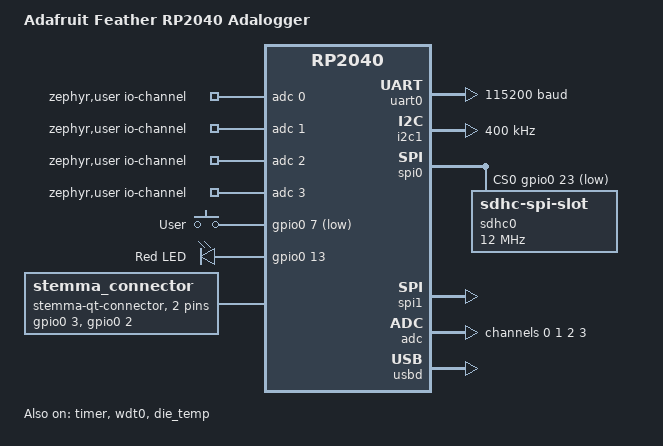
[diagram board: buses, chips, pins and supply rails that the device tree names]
/*
 * Copyright (c) 2021 Yonatan Schachter
 * Copyright (c) 2022 Peter Johanson
 * Copyright (c) 2025 Jonas Berg
 *
 * SPDX-License-Identifier: Apache-2.0
 */

/dts-v1/;

#include <raspberrypi/rpi_pico/rp2040.dtsi>
#include <dt-bindings/pinctrl/rpi-pico-rp2040-pinctrl.h>
#include <zephyr/dt-bindings/input/input-event-codes.h>
#include <zephyr/dt-bindings/led/led.h>
#include "adafruit_feather_adalogger_rp2040-pinctrl.dtsi"
#include "feather_connector.dtsi"

/ {
	model = "Adafruit Feather RP2040 Adalogger";
	compatible = "adafruit,feather_adalogger_rp2040";

	chosen {
		zephyr,sram = &sram0;
		zephyr,flash = &flash0;
		zephyr,flash-controller = &ssi;
		zephyr,console = &uart0;
		zephyr,shell-uart = &uart0;
		zephyr,code-partition = &code_partition;
	};

	aliases {
		watchdog0 = &wdt0;
		led-strip = &ws2812;
		led0 = &red_led;
		sdhc0 = &sdhc0;
		sw0 = &user_button;
	};

	zephyr,user {
		io-channels = <&adc 0>, <&adc 1>, <&adc 2>, <&adc 3>;
	};

	gpio_keys {
		compatible = "gpio-keys";

		user_button: button {
			label = "User";
			gpios = <&gpio0 7 (GPIO_ACTIVE_LOW | GPIO_PULL_UP)>;
			zephyr,code = <INPUT_KEY_0>;
		};
	};

	leds: leds {
		compatible = "gpio-leds";

		red_led: red_led {
			gpios = <&gpio0 13 GPIO_ACTIVE_HIGH>;
			label = "Red LED";
		};
	};

	stemma_connector: stemma_connector {
		compatible = "stemma-qt-connector";
		#gpio-cells = <2>;
		gpio-map-mask = <0xffffffff 0xffffffc0>;
		gpio-map-pass-thru = <0 0x3f>;
		gpio-map = <0 0 &gpio0 3 0>, /* SCL */
		<1 0 &gpio0 2 0>; /* SDA */
	};
};

&flash0 {
	reg = <0x10000000 DT_SIZE_M(8)>;

	partitions {
		compatible = "fixed-partitions";
		#address-cells = <1>;
		#size-cells = <1>;

		/* Reserved memory for the second stage bootloader */
		second_stage_bootloader: partition@0 {
			label = "second_stage_bootloader";
			reg = <0x00000000 0x100>;
			read-only;
		};

		/*
		 * Usable flash. Starts at 0x100, after the bootloader. The partition
		 * size is 8 MB minus the 0x100 bytes taken by the bootloader.
		 */
		code_partition: partition@100 {
			label = "code-partition";
			reg = <0x100 (DT_SIZE_M(8) - 0x100)>;
			read-only;
		};
	};
};

&gpio0 {
	status = "okay";
};

&uart0 {
	current-speed = <115200>;
	status = "okay";
	pinctrl-0 = <&uart0_default>;
	pinctrl-names = "default";
};

zephyr_i2c: &i2c1 {
	status = "okay";
	pinctrl-0 = <&i2c1_default>;
	pinctrl-names = "default";
	clock-frequency = <I2C_BITRATE_FAST>;
};

&spi0 {
	pinctrl-0 = <&spi0_default>;
	pinctrl-names = "default";
	status = "okay";
	cs-gpios = <&gpio0 23 GPIO_ACTIVE_LOW>;

	sdhc0: sdhc@0 {
		compatible = "zephyr,sdhc-spi-slot";
		reg = <0>;
		status = "okay";
		spi-max-frequency = <12000000>;

		mmc {
			compatible = "zephyr,sdmmc-disk";
			disk-name = "SD";
			status = "okay";
		};
	};
};

&spi1 {
	pinctrl-0 = <&spi1_default>;
	pinctrl-names = "default";
	status = "okay";
};

&timer {
	status = "okay";
};

&wdt0 {
	status = "okay";
};

&adc {
	status = "okay";
	pinctrl-0 = <&adc_default>;
	pinctrl-names = "default";
	#address-cells = <1>;
	#size-cells = <0>;

	channel@0 {
		reg = <0>;
		zephyr,gain = "ADC_GAIN_1";
		zephyr,reference = "ADC_REF_INTERNAL";
		zephyr,acquisition-time = <ADC_ACQ_TIME_DEFAULT>;
		zephyr,resolution = <12>;
	};

	channel@1 {
		reg = <1>;
		zephyr,gain = "ADC_GAIN_1";
		zephyr,reference = "ADC_REF_INTERNAL";
		zephyr,acquisition-time = <ADC_ACQ_TIME_DEFAULT>;
		zephyr,resolution = <12>;
	};

	channel@2 {
		reg = <2>;
		zephyr,gain = "ADC_GAIN_1";
		zephyr,reference = "ADC_REF_INTERNAL";
		zephyr,acquisition-time = <ADC_ACQ_TIME_DEFAULT>;
		zephyr,resolution = <12>;
	};

	channel@3 {
		reg = <3>;
		zephyr,gain = "ADC_GAIN_1";
		zephyr,reference = "ADC_REF_INTERNAL";
		zephyr,acquisition-time = <ADC_ACQ_TIME_DEFAULT>;
		zephyr,resolution = <12>;
	};
};

&pio0 {
	status = "okay";

	pio-ws2812 {
		compatible = "worldsemi,ws2812-rpi_pico-pio";
		status = "okay";
		pinctrl-0 = <&ws2812_pio0_default>;
		pinctrl-names = "default";
		bit-waveform = <3>, <3>, <4>;

		/* RGB LED (Neopixel) */
		ws2812: ws2812 {
			status = "okay";
			gpios = <&gpio0 17 GPIO_ACTIVE_HIGH>;
			chain-length = <1>;
			color-mapping = <LED_COLOR_ID_GREEN
					LED_COLOR_ID_RED
					LED_COLOR_ID_BLUE>;
			reset-delay = <280>;
			frequency = <800000>;
		};
	};
};

zephyr_udc0: &usbd {
	status = "okay";
};

&die_temp {
	status = "okay";
};

&vreg {
	regulator-always-on;
	regulator-allowed-modes = <REGULATOR_RPI_PICO_MODE_NORMAL>;
};

&xosc {
	startup-delay-multiplier = <64>;
};
